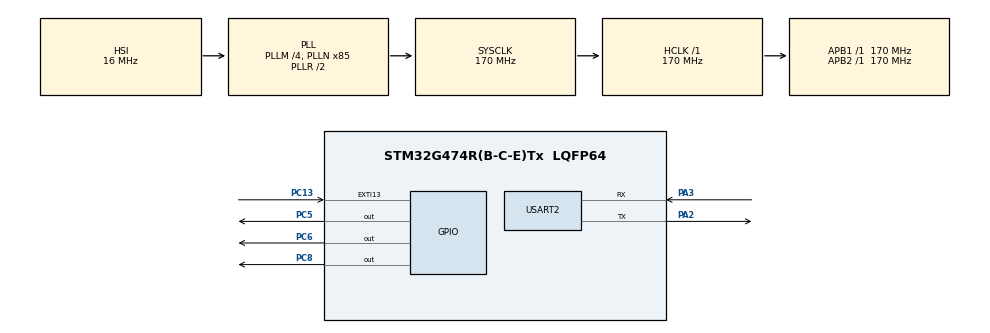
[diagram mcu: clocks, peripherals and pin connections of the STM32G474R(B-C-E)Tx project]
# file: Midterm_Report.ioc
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Mcu.Family=STM32G4
Mcu.Name=STM32G474R(B-C-E)Tx
Mcu.Package=LQFP64
NVIC.EXTI15_10_IRQn=true\:0\:0\:false\:false\:true\:true\:true\:true
NVIC.PriorityGroup=NVIC_PRIORITYGROUP_4
NVIC.TIM2_IRQn=true\:0\:0\:false\:false\:true\:true\:true\:true
PA13.GPIO_Label=T_SWDIO
PA13.Signal=SYS_JTMS-SWDIO
PA14.GPIO_Label=T_SWCLK
PA14.Signal=SYS_JTCK-SWCLK
PA2.Mode=Asynchronous
PA2.Signal=USART2_TX
PA3.Mode=Asynchronous
PA3.Signal=USART2_RX
PB3.GPIO_Label=T_SWO
PB3.Signal=SYS_JTDO-SWO
PC13.Signal=GPXTI13
PC14-OSC32_IN.GPIO_Label=RCC_OSC32_IN
PC14-OSC32_IN.Signal=RCC_OSC32_IN
PC15-OSC32_OUT.GPIO_Label=RCC_OSC32_OUT
PC15-OSC32_OUT.Signal=RCC_OSC32_OUT
PC5.Signal=GPIO_Output
PC6.Signal=GPIO_Output
PC8.Signal=GPIO_Output
PF0-OSC_IN.GPIO_Label=RCC_OSC_IN
PF0-OSC_IN.Signal=RCC_OSC_IN
PF1-OSC_OUT.GPIO_Label=RCC_OSC_OUT
PF1-OSC_OUT.Signal=RCC_OSC_OUT
ProjectManager.HeapSize=0x200
ProjectManager.StackSize=0x400
ProjectManager.TargetToolchain=STM32CubeIDE
RCC.ADC12Freq_Value=170000000
RCC.ADC345Freq_Value=170000000
RCC.AHBFreq_Value=170000000
RCC.APB1Freq_Value=170000000
RCC.APB1TimFreq_Value=170000000
RCC.APB2Freq_Value=170000000
RCC.APB2TimFreq_Value=170000000
RCC.CortexFreq_Value=170000000
RCC.EXTERNAL_CLOCK_VALUE=12288000
RCC.HCLKFreq_Value=170000000
RCC.HSE_VALUE=24000000
RCC.HSI48_VALUE=48000000
RCC.HSI_VALUE=16000000
RCC.LSE_VALUE=32768
RCC.PLLM=RCC_PLLM_DIV4
RCC.PLLN=85
RCC.RTCClockSelection=RCC_RTCCLKSOURCE_LSE
RCC.SYSCLKFreq_VALUE=170000000
RCC.SYSCLKSource=RCC_SYSCLKSOURCE_PLLCLK
RCC.USBFreq_Value=170000000
RCC.VCOOutputFreq_Value=340000000
TIM2.PeriodNoDither=999
TIM2.Prescaler=169
USART2.VirtualMode-Asynchronous=VM_ASYNC
VP_SYS_VS_DBSignals.Mode=DisableDeadBatterySignals
VP_TIM2_VS_ClockSourceINT.Mode=Internal
board=NUCLEO-G474RE

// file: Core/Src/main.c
/* USER CODE BEGIN Header */
/**
  ******************************************************************************
  * @file           : main.c
  * @brief          : 電影神槍手反應模擬器 (PC5/PC6/PC8 外接燈號版本)
  ******************************************************************************
  */
/* USER CODE END Header */
#include "main.h"

/* USER CODE BEGIN Includes */
#include <stdio.h>
#include <string.h>
#include <stdlib.h>
/* USER CODE END Includes */

/* USER CODE BEGIN PTD */
typedef enum {
    STATE_IDLE = 0,     // 初始閒置狀態，等待指令或按鍵
    STATE_WAITING,      // 黃色警戒燈亮起，隨機等待 1~4 秒
    STATE_GO,           // 綠色號令燈亮起，開始計時拔槍
    STATE_RESULT        // 結束並等待回報
} GameState;
/* USER CODE END PTD */

TIM_HandleTypeDef htim2;

UART_HandleTypeDef huart2;

/* USER CODE BEGIN PV */
volatile GameState current_state = STATE_IDLE;
volatile uint32_t reaction_time = 0;       // 紀錄毫秒反應時間
volatile uint32_t random_delay_ticks = 0;  // 隨機等待時間計數
volatile uint32_t timeout_counter = 0;     // 綠燈亮起後的逾時計數 (1秒 = 1000ms)
char uart_rx_buf[10];                      // UART 接收緩衝區
uint8_t rx_data;                           // UART 單字元接收
uint32_t best_time = 9999;                 // 最佳成績紀錄 (預設最大值)
/* USER CODE END PV */

void SystemClock_Config(void);
static void MX_GPIO_Init(void);
static void MX_TIM2_Init(void);
static void MX_USART2_UART_Init(void);

/* USER CODE BEGIN 0 */
// 重新導向 printf 到 USART2 終端機
int __io_putchar(int ch) {
    HAL_UART_Transmit(&huart2, (uint8_t *)&ch, 1, HAL_MAX_DELAY);
    return ch;
}

// 啟動遊戲的準備函式（亮黃燈、隨機生成 1~4 秒等待時間）
void Start_Game_Preparation(void) {
    current_state = STATE_WAITING;

    // 關閉其他燈號，點亮外接黃色警戒燈 (PC6)
    HAL_GPIO_WritePin(GPIOC, GPIO_PIN_5, GPIO_PIN_RESET); // 綠燈滅
    HAL_GPIO_WritePin(GPIOC, GPIO_PIN_6, GPIO_PIN_SET);   // 黃燈亮
    HAL_GPIO_WritePin(GPIOC, GPIO_PIN_8, GPIO_PIN_RESET); // 紅燈滅

    // 隨機等待 1000ms ~ 4000ms (1~4秒)
    random_delay_ticks = (rand() % 3000) + 1000;
    printf("\r\n[SYSTEM] 專注！準備拔槍...\r\n");
}

// 觸發綠燈號令 (Go!)
void Trigger_Go_Signal(void) {
    current_state = STATE_GO;

    // 黃燈滅，外接綠色拔槍號令燈 (PC5) 亮起
    HAL_GPIO_WritePin(GPIOC, GPIO_PIN_6, GPIO_PIN_RESET);
    HAL_GPIO_WritePin(GPIOC, GPIO_PIN_5, GPIO_PIN_SET);

    reaction_time = 0;     // 毫秒計數歸零
    timeout_counter = 0;   // 逾時計數歸零

    // 啟動 TIM2 毫秒中斷計時器
    HAL_TIM_Base_Start_IT(&htim2);
    printf("\r\n>>> FIRE! (拔槍！) <<<\r\n");
}
/* USER CODE END 0 */

int main(void)
{

  /* MCU Configuration--------------------------------------------------------*/

  /* Reset of all peripherals, Initializes the Flash interface and the Systick. */
  HAL_Init();

  /* Configure the system clock */
  SystemClock_Config();

  /* Initialize all configured peripherals */
  MX_GPIO_Init();
  MX_TIM2_Init();
  MX_USART2_UART_Init();
  /* USER CODE BEGIN 2 */
  // 啟動 UART 接收中斷
  HAL_UART_Receive_IT(&huart2, &rx_data, 1);

  // 隨機亂數種子初始化
  srand(1234);

  // 開機自我測試：依序閃爍綠(PC5)、黃(PC6)、紅(PC8)三燈一次，確認外接電路正常！
  HAL_GPIO_WritePin(GPIOC, GPIO_PIN_5, GPIO_PIN_SET); HAL_Delay(200);
  HAL_GPIO_WritePin(GPIOC, GPIO_PIN_5, GPIO_PIN_RESET);
  HAL_GPIO_WritePin(GPIOC, GPIO_PIN_6, GPIO_PIN_SET); HAL_Delay(200);
  HAL_GPIO_WritePin(GPIOC, GPIO_PIN_6, GPIO_PIN_RESET);
  HAL_GPIO_WritePin(GPIOC, GPIO_PIN_8, GPIO_PIN_SET); HAL_Delay(200);
  HAL_GPIO_WritePin(GPIOC, GPIO_PIN_8, GPIO_PIN_RESET);

  printf("\r\n========================================\r\n");
  printf("   電影神槍手反應模擬器 (PC5/6/8 版)    \r\n");
  printf("   請按下板上藍色按鍵(B1)開始遊戲       \r\n");
  printf("========================================\r\n");
  /* USER CODE END 2 */

  /* Infinite loop */
  /* USER CODE BEGIN WHILE */
  while (1)
  {
      // 狀態 1：黃燈預備等待期間的非同步計時與隨機等待處理
      if (current_state == STATE_WAITING) {
          if (random_delay_ticks > 0) {
              HAL_Delay(1); // 延遲 1ms
              random_delay_ticks--;
              if (random_delay_ticks == 0) {
                  Trigger_Go_Signal(); // 時間到，轉為綠燈開火號令
              }
          }
      }

      // 狀態 2：綠燈亮起後的逾時檢查 (超過 1 秒未拔槍)
      if (current_state == STATE_GO) {
          if (timeout_counter >= 1000) { // 超過 1000ms (1秒)
              HAL_TIM_Base_Stop_IT(&htim2); // 停止計時器
              current_state = STATE_IDLE;

              // 逾時轉外接紅燈 (PC8)
              HAL_GPIO_WritePin(GPIOC, GPIO_PIN_5, GPIO_PIN_RESET);
              HAL_GPIO_WritePin(GPIOC, GPIO_PIN_8, GPIO_PIN_SET);

              printf("[TIMEOUT] 逾時未拔槍！勝敗乃兵家常事，少俠請重新來過。\r\n");
          }
      }
    /* USER CODE END WHILE */

  }
}

void SystemClock_Config(void)
{
  RCC_OscInitTypeDef RCC_OscInitStruct = {0};
  RCC_ClkInitTypeDef RCC_ClkInitStruct = {0};

  /** Configure the main internal regulator output voltage
  */
  HAL_PWREx_ControlVoltageScaling(PWR_REGULATOR_VOLTAGE_SCALE1_BOOST);

  /** Initializes the RCC Oscillators according to the specified parameters
  * in the RCC_OscInitTypeDef structure.
  */
  RCC_OscInitStruct.OscillatorType = RCC_OSCILLATORTYPE_HSI;
  RCC_OscInitStruct.HSIState = RCC_HSI_ON;
  RCC_OscInitStruct.HSICalibrationValue = RCC_HSICALIBRATION_DEFAULT;
  RCC_OscInitStruct.PLL.PLLState = RCC_PLL_ON;
  RCC_OscInitStruct.PLL.PLLSource = RCC_PLLSOURCE_HSI;
  RCC_OscInitStruct.PLL.PLLM = RCC_PLLM_DIV4;
  RCC_OscInitStruct.PLL.PLLN = 85;
  RCC_OscInitStruct.PLL.PLLP = RCC_PLLP_DIV2;
  RCC_OscInitStruct.PLL.PLLQ = RCC_PLLQ_DIV2;
  RCC_OscInitStruct.PLL.PLLR = RCC_PLLR_DIV2;
  if (HAL_RCC_OscConfig(&RCC_OscInitStruct) != HAL_OK)
  {
    Error_Handler();
  }

  /** Initializes the CPU, AHB and APB buses clocks
  */
  RCC_ClkInitStruct.ClockType = RCC_CLOCKTYPE_HCLK|RCC_CLOCKTYPE_SYSCLK
                              |RCC_CLOCKTYPE_PCLK1|RCC_CLOCKTYPE_PCLK2;
  RCC_ClkInitStruct.SYSCLKSource = RCC_SYSCLKSOURCE_PLLCLK;
  RCC_ClkInitStruct.AHBCLKDivider = RCC_SYSCLK_DIV1;
  RCC_ClkInitStruct.APB1CLKDivider = RCC_HCLK_DIV1;
  RCC_ClkInitStruct.APB2CLKDivider = RCC_HCLK_DIV1;

  if (HAL_RCC_ClockConfig(&RCC_ClkInitStruct, FLASH_LATENCY_4) != HAL_OK)
  {
    Error_Handler();
  }
}

static void MX_TIM2_Init(void)
{

  TIM_ClockConfigTypeDef sClockSourceConfig = {0};
  TIM_MasterConfigTypeDef sMasterConfig = {0};

  htim2.Instance = TIM2;
  htim2.Init.Prescaler = 169;
  htim2.Init.CounterMode = TIM_COUNTERMODE_UP;
  htim2.Init.Period = 999;
  htim2.Init.ClockDivision = TIM_CLOCKDIVISION_DIV1;
  htim2.Init.AutoReloadPreload = TIM_AUTORELOAD_PRELOAD_DISABLE;
  if (HAL_TIM_Base_Init(&htim2) != HAL_OK)
  {
    Error_Handler();
  }
  sClockSourceConfig.ClockSource = TIM_CLOCKSOURCE_INTERNAL;
  if (HAL_TIM_ConfigClockSource(&htim2, &sClockSourceConfig) != HAL_OK)
  {
    Error_Handler();
  }
  sMasterConfig.MasterOutputTrigger = TIM_TRGO_RESET;
  sMasterConfig.MasterSlaveMode = TIM_MASTERSLAVEMODE_DISABLE;
  if (HAL_TIMEx_MasterConfigSynchronization(&htim2, &sMasterConfig) != HAL_OK)
  {
    Error_Handler();
  }

}

static void MX_USART2_UART_Init(void)
{

  huart2.Instance = USART2;
  huart2.Init.BaudRate = 115200;
  huart2.Init.WordLength = UART_WORDLENGTH_8B;
  huart2.Init.StopBits = UART_STOPBITS_1;
  huart2.Init.Parity = UART_PARITY_NONE;
  huart2.Init.Mode = UART_MODE_TX_RX;
  huart2.Init.HwFlowCtl = UART_HWCONTROL_NONE;
  huart2.Init.OverSampling = UART_OVERSAMPLING_16;
  huart2.Init.OneBitSampling = UART_ONE_BIT_SAMPLE_DISABLE;
  huart2.Init.ClockPrescaler = UART_PRESCALER_DIV1;
  huart2.AdvancedInit.AdvFeatureInit = UART_ADVFEATURE_NO_INIT;
  if (HAL_UART_Init(&huart2) != HAL_OK)
  {
    Error_Handler();
  }
  if (HAL_UARTEx_SetTxFifoThreshold(&huart2, UART_TXFIFO_THRESHOLD_1_8) != HAL_OK)
  {
    Error_Handler();
  }
  if (HAL_UARTEx_SetRxFifoThreshold(&huart2, UART_RXFIFO_THRESHOLD_1_8) != HAL_OK)
  {
    Error_Handler();
  }
  if (HAL_UARTEx_DisableFifoMode(&huart2) != HAL_OK)
  {
    Error_Handler();
  }

}

static void MX_GPIO_Init(void)
{
  GPIO_InitTypeDef GPIO_InitStruct = {0};

  /* GPIO Ports Clock Enable */
  __HAL_RCC_GPIOC_CLK_ENABLE();
  __HAL_RCC_GPIOF_CLK_ENABLE();
  __HAL_RCC_GPIOA_CLK_ENABLE();
  __HAL_RCC_GPIOB_CLK_ENABLE();

  /*Configure GPIO pin Output Level */
  HAL_GPIO_WritePin(GPIOC, GPIO_PIN_5|GPIO_PIN_6|GPIO_PIN_8, GPIO_PIN_RESET);

  /*Configure GPIO pin : PC13 */
  GPIO_InitStruct.Pin = GPIO_PIN_13;
  GPIO_InitStruct.Mode = GPIO_MODE_IT_RISING;
  GPIO_InitStruct.Pull = GPIO_NOPULL;
  HAL_GPIO_Init(GPIOC, &GPIO_InitStruct);

  /*Configure GPIO pins : PC5 PC6 PC8 */
  GPIO_InitStruct.Pin = GPIO_PIN_5|GPIO_PIN_6|GPIO_PIN_8;
  GPIO_InitStruct.Mode = GPIO_MODE_OUTPUT_PP;
  GPIO_InitStruct.Pull = GPIO_NOPULL;
  GPIO_InitStruct.Speed = GPIO_SPEED_FREQ_LOW;
  HAL_GPIO_Init(GPIOC, &GPIO_InitStruct);

  /* EXTI interrupt init*/
  HAL_NVIC_SetPriority(EXTI15_10_IRQn, 0, 0);
  HAL_NVIC_EnableIRQ(EXTI15_10_IRQn);

}

/* USER CODE BEGIN 4 */
// 外部中斷回呼函式：處理 PC13 (板上 B1 藍色按鍵)
void HAL_GPIO_EXTI_Callback(uint16_t GPIO_Pin) {
    if (GPIO_Pin == GPIO_PIN_13) {

        // 情況 A：系統處於初始狀態，按下 B1 啟動遊戲
        if (current_state == STATE_IDLE) {
            Start_Game_Preparation();
        }

        // 情況 B：黃燈預備等待期間按了按鍵 = 違規搶跑
        else if (current_state == STATE_WAITING) {
            current_state = STATE_IDLE;

            // 熄滅黃燈，點亮外接紅燈 (PC8)
            HAL_GPIO_WritePin(GPIOC, GPIO_PIN_6, GPIO_PIN_RESET);
            HAL_GPIO_WritePin(GPIOC, GPIO_PIN_8, GPIO_PIN_SET);

            printf("[EARLY / FAIL] 犯規！號令燈尚未亮起，你偷跑了！\r\n");
        }

        // 情況 C：綠燈亮起後按下 = 成功拔槍開火
        else if (current_state == STATE_GO) {
            HAL_TIM_Base_Stop_IT(&htim2); // 停止計時器
            current_state = STATE_IDLE;

            // 熄滅外接綠燈 (PC5)
            HAL_GPIO_WritePin(GPIOC, GPIO_PIN_5, GPIO_PIN_RESET);

            uint32_t final_time = reaction_time;
            if (final_time < best_time) {
                best_time = final_time;
            }

            printf("[SUCCESS] Reaction Time: %lu ms, SUCCESS!\r\n", final_time);
            printf("[RECORD] 當次成績: %lu ms | 歷史最佳 (Best Time): %lu ms\r\n", final_time, best_time);
        }
    }
}

// TIM2 週期性中斷回呼函式：每 1ms 觸發一次
void HAL_TIM_PeriodElapsedCallback(TIM_HandleTypeDef *htim) {
    if (htim->Instance == TIM2) {
        if (current_state == STATE_GO) {
            reaction_time++;
            timeout_counter++;
        }
    }
}

// UART 接收完成中斷回呼函式
void HAL_UART_RxCpltCallback(UART_HandleTypeDef *huart) {
    if (huart->Instance == USART2) {
        static uint8_t idx = 0;

        if (rx_data == '\r' || rx_data == '\n') {
            uart_rx_buf[idx] = '\0';
            if (strcmp(uart_rx_buf, "new") == 0) {
                if (current_state == STATE_IDLE) {
                    Start_Game_Preparation();
                }
            }
            idx = 0;
        } else {
            if (idx < sizeof(uart_rx_buf) - 1) {
                uart_rx_buf[idx++] = rx_data;
            }
        }
        HAL_UART_Receive_IT(&huart2, &rx_data, 1);
    }
}
/* USER CODE END 4 */

void Error_Handler(void)
{
}
